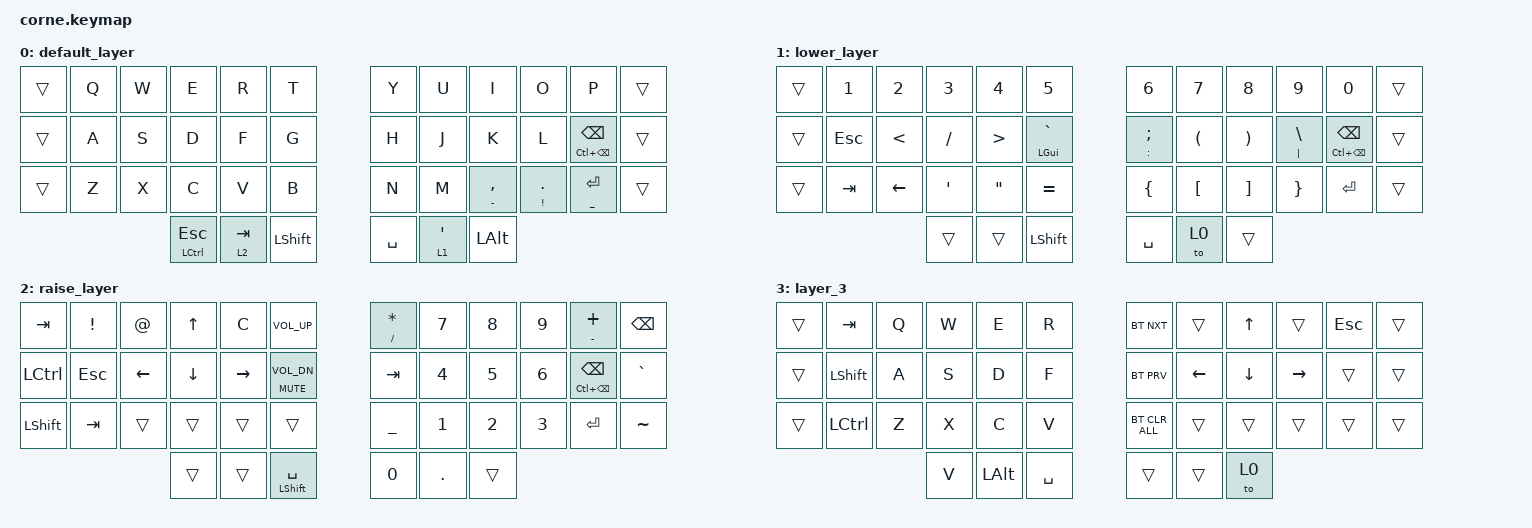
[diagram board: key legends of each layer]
/*
 * Copyright (c) 2020 The ZMK Contributors
 *
 * SPDX-License-Identifier: MIT
 */

#include <behaviors.dtsi>
#include <dt-bindings/zmk/bt.h>
#include <dt-bindings/zmk/keys.h>

/ {
    combos {
        compatible = "zmk,combos";

        third_layer {
            bindings = <&to 3>;
            key-positions = <36 41>;
            layers = <0 1 2>;
        };

        gaminglayerone {
            bindings = <&kp NUMBER_1>;
            key-positions = <37 1>;
            layers = <3>;
        };

        gaming_layer_two {
            bindings = <&kp NUMBER_2>;
            key-positions = <2 37>;
        };

        gaming_layer_three {
            bindings = <&kp NUMBER_3>;
            key-positions = <3 37>;
            layers = <3>;
        };

        gaming_layer_four {
            bindings = <&kp NUMBER_4>;
            key-positions = <4 37>;
            layers = <3>;
        };

        gaming_layer_five {
            bindings = <&kp N5>;
            key-positions = <5 37>;
            layers = <3>;
        };
    };

    keymap {
        compatible = "zmk,keymap";

        default_layer {
            // -----------------------------------------------------------------------------------------
            // |  TAB |  Q  |  W  |  E  |  R  |  T  |   |  Y  |  U   |  I  |  O  |  P  | BKSP |
            // | CTRL |  A  |  S  |  D  |  F  |  G  |   |  H  |  J   |  K  |  L  |  ;  |  '   |
            // | SHFT |  Z  |  X  |  C  |  V  |  B  |   |  N  |  M   |  ,  |  .  |  /  | ESC  |
            //                    | GUI | LWR | SPC |   | ENT | RSE  | ALT |

            bindings = <
&trans  &kp Q  &kp W  &kp E                    &kp R      &kp T             &kp Y      &kp U       &kp I            &kp O                   &kp P                        &trans
&trans  &kp A  &kp S  &kp D                    &kp F      &kp G             &kp H      &kp J       &kp K            &kp L                   &mt LC(BACKSPACE) BACKSPACE  &trans
&trans  &kp Z  &kp X  &kp C                    &kp V      &kp B             &kp N      &kp M       &mt MINUS COMMA  &mt EXCLAMATION PERIOD  &mt UNDERSCORE ENTER         &trans
                      &mt LEFT_CONTROL ESCAPE  &lt 2 TAB  &kp LEFT_SHIFT    &kp SPACE  &lt 1 APOS  &kp LEFT_ALT
            >;
        };

        lower_layer {
            // -----------------------------------------------------------------------------------------
            // |  TAB |  1  |  2  |  3  |  4  |  5  |   |  6  |  7  |  8  |  9  |  0  | BKSP |
            // | BTCLR| BT1 | BT2 | BT3 | BT4 | BT5 |   | LFT | DWN |  UP | RGT |     |      |
            // | SHFT |     |     |     |     |     |   |     |     |     |     |     |      |
            //                    | GUI |     | SPC |   | ENT |     | ALT |

            bindings = <
&trans  &kp N1   &kp N2          &kp N3     &kp N4             &kp N5                &kp N6          &kp N7                &kp N8                 &kp N9              &kp N0                       &trans
&trans  &kp ESC  &kp LT          &kp SLASH  &kp GT             &mt LEFT_GUI GRAVE    &mt COLON SEMI  &kp LEFT_PARENTHESIS  &kp RIGHT_PARENTHESIS  &mt PIPE BACKSLASH  &mt LC(BACKSPACE) BACKSPACE  &trans
&trans  &kp TAB  &kp LEFT_ARROW  &kp SQT    &kp DOUBLE_QUOTES  &kp EQUAL             &kp LEFT_BRACE  &kp LEFT_BRACKET      &kp RIGHT_BRACKET      &kp RIGHT_BRACE     &kp RETURN                   &trans
                                 &trans     &trans             &kp LEFT_SHIFT        &kp SPACE       &to 0                 &trans
            >;
        };

        raise_layer {
            // -----------------------------------------------------------------------------------------
            // |  TAB |  !  |  @  |  #  |  $  |  %  |   |  ^  |  &  |  *  |  (  |  )  | BKSP |
            // | CTRL |     |     |     |     |     |   |  -  |  =  |  [  |  ]  |  \  |  `   |
            // | SHFT |     |     |     |     |     |   |  _  |  +  |  {  |  }  | "|" |  ~   |
            //                    | GUI |     | SPC |   | ENT |     | ALT |

            bindings = <
&kp TAB    &kp EXCL    &kp AT    &kp UP_ARROW  &kp C      &kp C_VOLUME_UP        &mt SLASH ASTERISK  &kp N7        &kp N8  &kp N9  &mt MINUS PLUS               &kp BSPC
&kp LCTRL  &kp ESCAPE  &kp LEFT  &kp DOWN      &kp RIGHT  &mt C_MUTE C_VOL_DN    &kp TAB             &kp N4        &kp N5  &kp N6  &mt LC(BACKSPACE) BACKSPACE  &kp GRAVE
&kp LSHFT  &kp TAB     &trans    &trans        &trans     &trans                 &kp UNDER           &kp NUMBER_1  &kp N2  &kp N3  &kp ENTER                    &kp TILDE
                                 &trans        &trans     &mt LSHIFT SPACE       &kp N0              &kp PERIOD    &trans
            >;
        };

        layer_3 {
            bindings = <
&trans  &kp TAB           &kp Q  &kp W  &kp E         &kp R        &bt BT_NXT      &trans          &kp UP_ARROW    &trans           &kp ESCAPE  &trans
&trans  &kp LEFT_SHIFT    &kp A  &kp S  &kp D         &kp F        &bt BT_PRV      &kp LEFT_ARROW  &kp DOWN_ARROW  &kp RIGHT_ARROW  &trans      &trans
&trans  &kp LEFT_CONTROL  &kp Z  &kp X  &kp C         &kp V        &bt BT_CLR_ALL  &trans          &trans          &trans           &trans      &trans
                                 &kp V  &kp LEFT_ALT  &kp SPACE    &trans          &trans          &to 0
            >;
        };
    };
};
